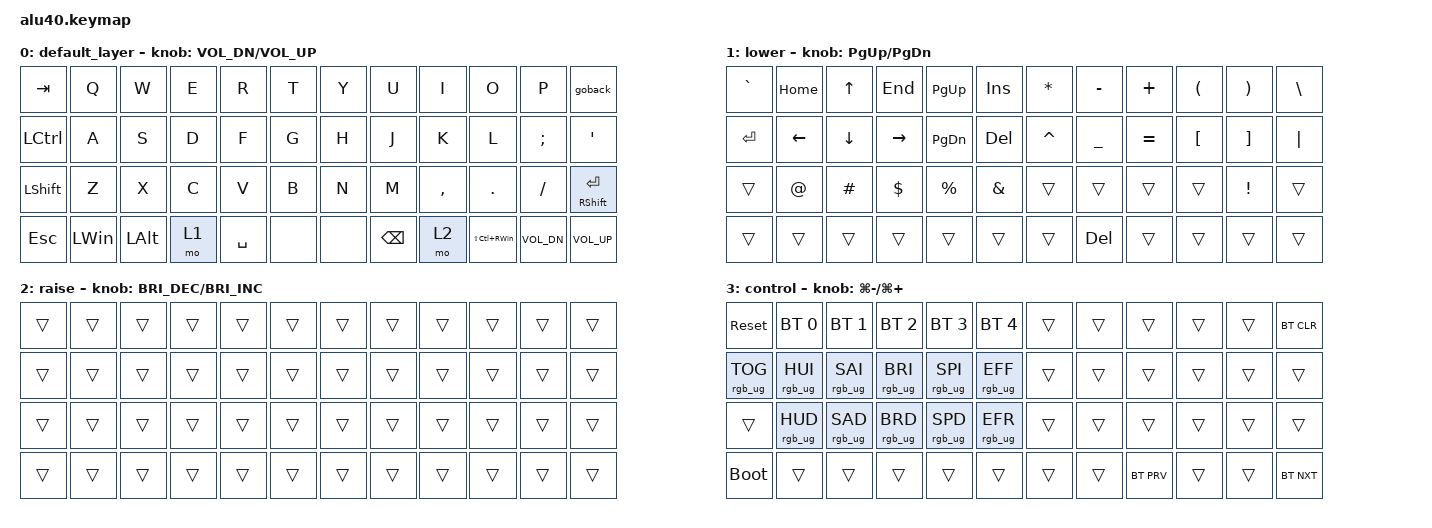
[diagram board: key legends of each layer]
/*
 * Copyright (c) 2022 The ZMK Contributors
 *
 * SPDX-License-Identifier: MIT
 */

#include <behaviors.dtsi>
#include <dt-bindings/zmk/bt.h>
#include <dt-bindings/zmk/keys.h>
#include <dt-bindings/zmk/rgb.h>

/ {
    macros {
        goback: goback {
            compatible = "zmk,behavior-macro";
            label = "GOBACK";
            #binding-cells = <0>;
            bindings = <&macro_tap>, <&kp LS(LC(LEFT)) &kp BACKSPACE>;
        };
    };

    combos {
        compatible = "zmk,combos";

        layer1 {
            bindings = <&mo 1>;
            key-positions = <40 4>;
        };

        layer2 {
            bindings = <&mo 2>;
            key-positions = <43 7>;
        };

        layer3 {
            bindings = <&mo 3>;
            key-positions = <40 43>;
        };

        pageup {
            bindings = <&kp PAGE_UP>;
            key-positions = <3 15>;
            timeout-ms = <15>;
        };

        pagedn {
            bindings = <&kp PAGE_DOWN>;
            key-positions = <1 13>;
            timeout-ms = <15>;
        };

        mute {
            bindings = <&kp C_MUTE>;
            key-positions = <47 46>;
        };

        shifttab {
            bindings = <&kp LS(TAB)>;
            key-positions = <12 0>;
            timeout-ms = <15>;
        };

        playpause {
            bindings = <&kp C_PLAY_PAUSE>;
            key-positions = <35 23>;
        };

        previous {
            bindings = <&kp C_PREV>;
            key-positions = <11 23>;
        };

        next {
            bindings = <&kp C_NEXT>;
            key-positions = <47 35>;
        };

        brightnessup {
            bindings = <&kp C_BRIGHTNESS_INC>;
            key-positions = <46 45>;
        };

        brightnessdn {
            bindings = <&kp C_BRIGHTNESS_DEC>;
            key-positions = <45 44>;
        };

        screenshot {
            bindings = <&kp LG(LS(S))>;
            key-positions = <11 10>;
        };

        bootloader {
            bindings = <&bootloader>;
            key-positions = <0 11 47 36>;
        };

        n1 {
            bindings = <&kp NUMBER_1>;
            key-positions = <1 0>;
            timeout-ms = <15>;
            layers = <0>;
        };

        n2 {
            bindings = <&kp NUMBER_2>;
            key-positions = <2 1>;
            timeout-ms = <15>;
            layers = <0>;
        };

        n3 {
            bindings = <&kp NUMBER_3>;
            key-positions = <3 2>;
            timeout-ms = <15>;
            layers = <0>;
        };

        n4 {
            bindings = <&kp NUMBER_4>;
            key-positions = <3 4>;
            timeout-ms = <15>;
            layers = <0>;
        };

        n5 {
            bindings = <&kp N5>;
            key-positions = <12 13>;
            timeout-ms = <15>;
            layers = <0>;
        };

        n6 {
            bindings = <&kp NUMBER_6>;
            key-positions = <13 14>;
            timeout-ms = <15>;
            layers = <0>;
        };

        n7 {
            bindings = <&kp N7>;
            key-positions = <14 15>;
            timeout-ms = <15>;
            layers = <0>;
        };

        n8 {
            bindings = <&kp N8>;
            key-positions = <15 16>;
            timeout-ms = <15>;
            layers = <0>;
        };

        n9 {
            bindings = <&kp N9>;
            key-positions = <24 25>;
            timeout-ms = <15>;
            layers = <0>;
        };

        n0 {
            bindings = <&kp N0>;
            key-positions = <25 26>;
            timeout-ms = <15>;
            layers = <0>;
        };

        f1 {
            bindings = <&kp F1>;
            key-positions = <1 0>;
            timeout-ms = <15>;
            layers = <1>;
        };

        f2 {
            bindings = <&kp F2>;
            key-positions = <2 1>;
            timeout-ms = <15>;
            layers = <1>;
        };

        f3 {
            bindings = <&kp F3>;
            key-positions = <3 2>;
            timeout-ms = <15>;
            layers = <1>;
        };

        f4 {
            bindings = <&kp F4>;
            key-positions = <3 4>;
            timeout-ms = <15>;
            layers = <1>;
        };

        f5 {
            bindings = <&kp F5>;
            key-positions = <12 13>;
            timeout-ms = <15>;
            layers = <1>;
        };

        f6 {
            bindings = <&kp F6>;
            key-positions = <13 14>;
            timeout-ms = <15>;
            layers = <1>;
        };

        f7 {
            bindings = <&kp F7>;
            key-positions = <14 15>;
            timeout-ms = <15>;
            layers = <1>;
        };

        f8 {
            bindings = <&kp F8>;
            key-positions = <15 16>;
            timeout-ms = <15>;
            layers = <1>;
        };

        f9 {
            bindings = <&kp F9>;
            key-positions = <24 25>;
            timeout-ms = <15>;
            layers = <1>;
        };

        f10 {
            bindings = <&kp F10>;
            key-positions = <25 26>;
            timeout-ms = <15>;
            layers = <1>;
        };

        f11 {
            bindings = <&kp F11>;
            key-positions = <26 27>;
            timeout-ms = <15>;
            layers = <1>;
        };

        f12 {
            bindings = <&kp F12>;
            key-positions = <28 27>;
            timeout-ms = <15>;
            layers = <1>;
        };
    };

    keymap {
        compatible = "zmk,keymap";

        default_layer {
            // -----------------------------------------------------------------------------------------
            // | ESC/~ |  Q   |  W   |  E   |  R   |  T   |   Y   |  U    |  I   |  O   |   P   | BSPC  |
            // | TAB   |  A   |  S   |  D   |  F   |  G   |   H   |  J    |  K   |  L   |   ;   |  '    |
            // | SHIFT |  Z   |  X   |  C   |  V   |  B   |   N   |  M    |  ,   |  .   |   /   |RET/SFT|
            // | PLAY  | LCTL | LALT | LGUI | LOWR |     SPACE    |  RAIS | LARW | UARW | DARW  |  RARW |

            bindings = <
&kp TAB           &kp Q         &kp W         &kp E  &kp R      &kp T  &kp Y  &kp U          &kp I      &kp O                  &kp P         &goback
&kp LEFT_CONTROL  &kp A         &kp S         &kp D  &kp F      &kp G  &kp H  &kp J          &kp K      &kp L                  &kp SEMI      &kp SQT
&kp LSHFT         &kp Z         &kp X         &kp C  &kp V      &kp B  &kp N  &kp M          &kp COMMA  &kp DOT                &kp FSLH      &mt RSHFT RET
&kp ESCAPE        &kp LEFT_WIN  &kp LEFT_ALT  &mo 1  &kp SPACE  &none  &none  &kp BACKSPACE  &mo 2      &kp LS(LC(RIGHT_WIN))  &kp C_VOL_DN  &kp C_VOLUME_UP
            >;

            sensor-bindings = <&inc_dec_kp C_VOL_DN C_VOL_UP>;
        };

        lower {
            bindings = <
&kp GRAVE  &kp HOME  &kp UP    &kp END     &kp PAGE_UP    &kp INS        &kp STAR   &kp MINUS  &kp PLUS   &kp LEFT_PARENTHESIS  &kp RIGHT_PARENTHESIS  &kp BACKSLASH
&kp ENTER  &kp LEFT  &kp DOWN  &kp RIGHT   &kp PAGE_DOWN  &kp DEL        &kp CARET  &kp UNDER  &kp EQUAL  &kp LEFT_BRACKET      &kp RIGHT_BRACKET      &kp PIPE
&trans     &kp AT    &kp HASH  &kp DOLLAR  &kp PERCENT    &kp AMPERSAND  &trans     &trans     &trans     &trans                &kp EXCLAMATION        &trans
&trans     &trans    &trans    &trans      &trans         &trans         &trans     &kp DEL    &trans     &trans                &trans                 &trans
            >;

            sensor-bindings = <&inc_dec_kp PG_UP PG_DN>;
        };

        raise {
            bindings = <
&trans  &trans  &trans  &trans  &trans  &trans  &trans  &trans  &trans  &trans  &trans  &trans
&trans  &trans  &trans  &trans  &trans  &trans  &trans  &trans  &trans  &trans  &trans  &trans
&trans  &trans  &trans  &trans  &trans  &trans  &trans  &trans  &trans  &trans  &trans  &trans
&trans  &trans  &trans  &trans  &trans  &trans  &trans  &trans  &trans  &trans  &trans  &trans
            >;

            sensor-bindings = <&inc_dec_kp C_BRI_DEC C_BRI_INC>;
        };

        control {
            bindings = <
&sys_reset       &bt BT_SEL 0     &bt BT_SEL 1     &bt BT_SEL 2     &bt BT_SEL 3     &bt BT_SEL 4     &trans  &trans  &trans      &trans  &trans  &bt BT_CLR
&rgb_ug RGB_TOG  &rgb_ug RGB_HUI  &rgb_ug RGB_SAI  &rgb_ug RGB_BRI  &rgb_ug RGB_SPI  &rgb_ug RGB_EFF  &trans  &trans  &trans      &trans  &trans  &trans
&trans           &rgb_ug RGB_HUD  &rgb_ug RGB_SAD  &rgb_ug RGB_BRD  &rgb_ug RGB_SPD  &rgb_ug RGB_EFR  &trans  &trans  &trans      &trans  &trans  &trans
&bootloader      &trans           &trans           &trans           &trans           &trans           &trans  &trans  &bt BT_PRV  &trans  &trans  &bt BT_NXT
            >;

            sensor-bindings = <&inc_dec_kp LG(MINUS) LG(PLUS)>;
        };
    };
};
